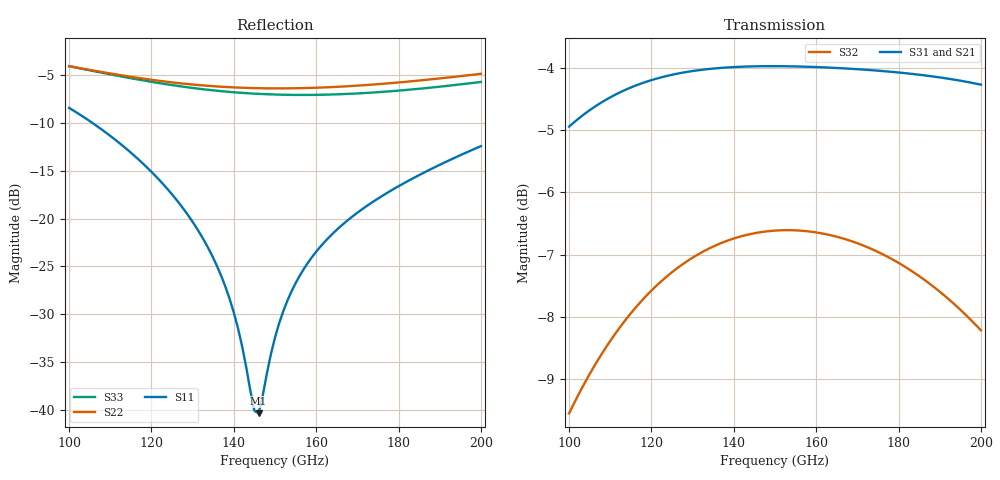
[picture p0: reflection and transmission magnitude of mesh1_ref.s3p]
! Created with skrf 2.1.0 (http://scikit-rf.org).
# GHz S DB R 50.0
! Port[1] = P1
! Port[2] = P2
! Port[3] = P3
!freq dBS11 angS11 dBS12 angS12 dBS13 angS13
! dBS21 angS21 dBS22 angS22 dBS23 angS23
! dBS31 angS31 dBS32 angS32 dBS33 angS33
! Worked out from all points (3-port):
!   101 points, 100 GHz to 200 GHz, reference 50 ohm
!   strongest paths, dB at 100 GHz, 125 GHz, 150 GHz, 175 GHz, 200 GHz:
!     S31: -4.9, -4.1, -4.0, -4.0, -4.3
!     S21: -4.7, -4.0, -4.0, -4.2, -4.7
!     S32: -9.6, -7.3, -6.6, -7.0, -8.2
!   lowest |S11| = -40.4 dB at 146 GHz (marker M1), VSWR 1.02, Z = 49.1 - j0.0168 ohm
!   |S11| at or under -10 dB: 105.7 GHz to end of sweep
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100  -8.41 129.7  -4.70 -11.2  -4.94 165.1
     -4.70 -11.2  -4.04 60.0  -9.55 90.8
     -4.94 165.1  -9.55 90.8  -4.05 50.1
118  -14.27 106.7  -4.10 -38.7  -4.24 135.9
     -4.10 -38.7  -5.35 44.0  -7.72 63.8
     -4.24 135.9  -7.72 63.8  -5.54 31.5
131  -21.02 96.3  -3.97 -56.8  -4.04 116.8
     -3.97 -56.8  -6.00 34.3  -7.01 45.7
     -4.04 116.8  -7.01 45.7  -6.38 20.3
139  -28.44 97.9  -3.96 -67.3  -3.99 105.7
     -3.96 -67.3  -6.24 28.6  -6.76 35.2
     -3.99 105.7  -6.76 35.2  -6.74 14.0
145  -40.13 150.6  -3.98 -74.9  -3.97 97.6
     -3.98 -74.9  -6.34 24.4  -6.66 27.6
     -3.97 97.6  -6.66 27.6  -6.92 9.5
146  -40.40 -179.0  -3.98 -76.1  -3.97 96.3
     -3.98 -76.1  -6.35 23.7  -6.65 26.3
     -3.97 96.3  -6.65 26.3  -6.94 8.8
150  -32.46 -126.9  -4.00 -81.1  -3.97 91.0
     -4.00 -81.1  -6.37 20.8  -6.61 21.4
     -3.97 91.0  -6.61 21.4  -7.01 5.8
156  -25.99 -117.9  -4.04 -88.4  -3.98 83.3
     -4.04 -88.4  -6.35 16.4  -6.61 14.0
     -3.98 83.3  -6.61 14.0  -7.05 1.3
165  -21.18 -117.6  -4.12 -99.2  -4.00 71.8
     -4.12 -99.2  -6.21 9.6  -6.71 3.2
     -4.00 71.8  -6.71 3.2  -6.99 -5.6
200  -12.42 -132.3  -4.69 -141.3  -4.27 27.6
     -4.69 -141.3  -4.84 -20.7  -8.22 -37.8
     -4.27 27.6  -8.22 -37.8  -5.70 -35.1
